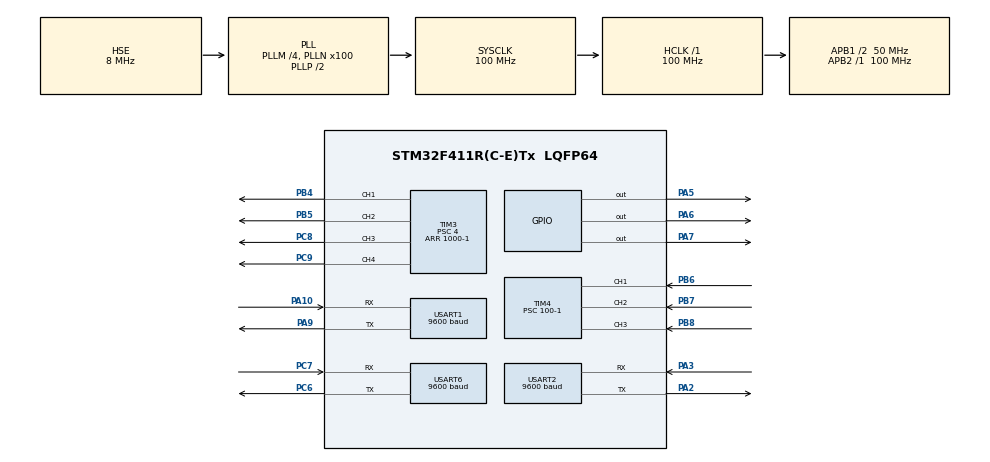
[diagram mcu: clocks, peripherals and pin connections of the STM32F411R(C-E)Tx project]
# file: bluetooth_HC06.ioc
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Mcu.Family=STM32F4
Mcu.Name=STM32F411R(C-E)Tx
Mcu.Package=LQFP64
NVIC.PriorityGroup=NVIC_PRIORITYGROUP_4
NVIC.TIM4_IRQn=true\:0\:0\:false\:false\:true\:true\:true\:true
NVIC.USART1_IRQn=true\:0\:0\:false\:false\:true\:true\:true\:true
NVIC.USART2_IRQn=true\:0\:0\:false\:false\:true\:true\:true\:true
NVIC.USART6_IRQn=true\:0\:0\:false\:false\:true\:true\:true\:true
PA10.Mode=Asynchronous
PA10.Signal=USART1_RX
PA13.Mode=Serial_Wire
PA13.Signal=SYS_JTMS-SWDIO
PA14.Mode=Serial_Wire
PA14.Signal=SYS_JTCK-SWCLK
PA2.Mode=Asynchronous
PA2.Signal=USART2_TX
PA3.Mode=Asynchronous
PA3.Signal=USART2_RX
PA5.GPIO_Speed=GPIO_SPEED_FREQ_VERY_HIGH
PA5.Signal=GPIO_Output
PA6.GPIO_Speed=GPIO_SPEED_FREQ_VERY_HIGH
PA6.Signal=GPIO_Output
PA7.GPIO_Speed=GPIO_SPEED_FREQ_VERY_HIGH
PA7.Signal=GPIO_Output
PA9.Mode=Asynchronous
PA9.Signal=USART1_TX
PB4.Signal=S_TIM3_CH1
PB5.Signal=S_TIM3_CH2
PB6.Signal=S_TIM4_CH1
PB7.Signal=S_TIM4_CH2
PB8.Signal=S_TIM4_CH3
PC6.Mode=Asynchronous
PC6.Signal=USART6_TX
PC7.Mode=Asynchronous
PC7.Signal=USART6_RX
PC8.Signal=S_TIM3_CH3
PC9.Signal=S_TIM3_CH4
PH0\ -\ OSC_IN.Mode=HSE-External-Oscillator
PH0\ -\ OSC_IN.Signal=RCC_OSC_IN
PH1\ -\ OSC_OUT.Mode=HSE-External-Oscillator
PH1\ -\ OSC_OUT.Signal=RCC_OSC_OUT
ProjectManager.HeapSize=0x200
ProjectManager.StackSize=0x400
ProjectManager.TargetToolchain=STM32CubeIDE
RCC.48MHZClocksFreq_Value=50000000
RCC.AHBFreq_Value=100000000
RCC.APB1CLKDivider=RCC_HCLK_DIV2
RCC.APB1Freq_Value=50000000
RCC.APB1TimFreq_Value=100000000
RCC.APB2Freq_Value=100000000
RCC.APB2TimFreq_Value=100000000
RCC.CortexFreq_Value=100000000
RCC.HCLKFreq_Value=100000000
RCC.HSE_VALUE=8000000
RCC.HSI_VALUE=16000000
RCC.LSE_VALUE=32768
RCC.PLLM=4
RCC.PLLN=100
RCC.PLLSourceVirtual=RCC_PLLSOURCE_HSE
RCC.SYSCLKFreq_VALUE=100000000
RCC.SYSCLKSource=RCC_SYSCLKSOURCE_PLLCLK
RCC.VCOOutputFreq_Value=200000000
SH.S_TIM3_CH1.0=TIM3_CH1,PWM Generation1 CH1
SH.S_TIM3_CH2.0=TIM3_CH2,PWM Generation2 CH2
SH.S_TIM3_CH3.0=TIM3_CH3,PWM Generation3 CH3
SH.S_TIM3_CH4.0=TIM3_CH4,PWM Generation4 CH4
SH.S_TIM4_CH1.0=TIM4_CH1,Input_Capture1_from_TI1
SH.S_TIM4_CH2.0=TIM4_CH2,Input_Capture2_from_TI2
SH.S_TIM4_CH3.0=TIM4_CH3,Input_Capture3_from_TI3
TIM11.Prescaler=100-1
TIM3.Channel-PWM\ Generation1\ CH1=TIM_CHANNEL_1
TIM3.Channel-PWM\ Generation2\ CH2=TIM_CHANNEL_2
TIM3.Channel-PWM\ Generation3\ CH3=TIM_CHANNEL_3
TIM3.Channel-PWM\ Generation4\ CH4=TIM_CHANNEL_4
TIM3.Period=1000-1
TIM3.Prescaler=4
TIM4.Channel-Input_Capture1_from_TI1=TIM_CHANNEL_1
TIM4.Channel-Input_Capture2_from_TI2=TIM_CHANNEL_2
TIM4.Channel-Input_Capture3_from_TI3=TIM_CHANNEL_3
TIM4.Prescaler=100-1
USART1.BaudRate=9600
USART1.VirtualMode=VM_ASYNC
USART2.BaudRate=9600
USART2.VirtualMode=VM_ASYNC
USART6.BaudRate=9600
USART6.VirtualMode=VM_ASYNC
VP_TIM11_VS_ClockSourceINT.Mode=Enable_Timer
VP_TIM3_VS_ClockSourceINT.Mode=Internal
VP_TIM4_VS_ClockSourceINT.Mode=Internal
board=custom

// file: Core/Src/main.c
/* USER CODE BEGIN Header */
/**
  ******************************************************************************
  * @file           : main.c
  * @brief          : Main program body
  ******************************************************************************
  * @attention
  *
  * Copyright (c) 2025 STMicroelectronics.
  * All rights reserved.
  *
  * This software is licensed under terms that can be found in the LICENSE file
  * in the root directory of this software component.
  * If no LICENSE file comes with this software, it is provided AS-IS.
  *
  ******************************************************************************
  */
/* USER CODE END Header */
#include "main.h"
#include "tim.h"
#include "usart.h"
#include "gpio.h"

/* USER CODE BEGIN Includes */

#include "rcCar.h"
#include "ultrasonic.h"
#include "rcCar_auto.h"

/* USER CODE END Includes */

/* USER CODE BEGIN PV */
uint8_t rxData6;
uint8_t rxData2;
//uint8_t rxData1;

//uint8_t bluetooth_RxData;
//uint8_t serial_RxData;
//const char *at_cmds[] =
//{
//		"AT\r\n",
//		"AT+IMQM\r\n"
//		"AT+ROLE=1\r\n",
//		"AT+CMODE=0\r\n",
//		"AT+PSWD=1234\r\n",          // HC-06 PIN에 맞춤 (필요시 0000)
//		"AT+BIND=98DA,60,07D946\r\n",  // 또는 98,DA,60,07,DD,18 형식
//		"AT+PAIR=98DA,60,07D946,10\r\n",   // ★ 최초 페어링(타임아웃 10s)
//		"AT+LINK=98DA,60,07D946\r\n",      // ★ 즉시 연결 시도 (보레이트와 무관하게 블루투스 무선 링크로 연결됨)
//		"AT+UART=9600,0,0\r\n",
//		"AT+RESET\r\n"
// // 보낼 AT 명령어
//};
//

/* USER CODE END PV */

void SystemClock_Config(void);
/* USER CODE BEGIN PFP */

void HAL_UART_RxCpltCallback(UART_HandleTypeDef *huart)
{
	if(huart->Instance == USART2)
	{
	   HAL_UART_Receive_IT(&huart2, &rxData2, 1);
	   HAL_UART_Transmit(&huart6, &rxData2, sizeof(rxData2), HAL_MAX_DELAY );

	}

	else if(huart->Instance == USART6)
    {
		HAL_UART_Receive_IT(&huart6, &rxData6, 1);
		HAL_UART_Transmit(&huart2, &rxData6, sizeof(rxData6), HAL_MAX_DELAY);
	}

//	else if(huart->Instance == USART1)
//    {
//		HAL_UART_Receive_IT(&huart1, &rxData1, 1);
//		HAL_UART_Transmit(&huart2, &rxData1, sizeof(rxData1), HAL_MAX_DELAY);
//
//	}

}

	int _write(int file, unsigned char* p, int len)
	{
	    HAL_StatusTypeDef status = HAL_UART_Transmit(&huart2, p, len, 100);
	    return (status == HAL_OK ? len : 0);
	}

//void HAL_UART_RxCpltCallback(UART_HandleTypeDef *huart)
//{
//    if(huart->Instance == USART6)
//    {
//        HAL_UART_Transmit (&huart2, &bluetooth_RxData, 1, 1000);
//        HAL_UART_Receive_IT(&huart6, &bluetooth_RxData, 1);
//    }
//    else if(huart->Instance == USART2)
//    {
//        HAL_UART_Transmit (&huart6, &serial_RxData, 1, 1000);
//        HAL_UART_Receive_IT(&huart2, &serial_RxData, 1);
//    }
//}
//

/* USER CODE END PFP */

int main(void)
{

  /* MCU Configuration--------------------------------------------------------*/

  /* Reset of all peripherals, Initializes the Flash interface and the Systick. */
  HAL_Init();

  /* Configure the system clock */
  SystemClock_Config();

  /* Initialize all configured peripherals */
  MX_GPIO_Init();
  MX_TIM3_Init();
  MX_USART2_UART_Init();
  MX_USART6_UART_Init();
  MX_TIM4_Init();
  MX_TIM11_Init();
  MX_USART1_UART_Init();
  /* USER CODE BEGIN 2 */

  HAL_TIM_Base_Start(&htim11);  //for delay_us() Function
  HAL_TIM_IC_Start_IT(&htim4, TIM_CHANNEL_1);  //인터럽트면 콜백 이름 모르니까
  HAL_TIM_IC_Start_IT(&htim4, TIM_CHANNEL_2);
  HAL_TIM_IC_Start_IT(&htim4, TIM_CHANNEL_3);

  rcCar_init();

  HAL_TIM_PWM_Start(&htim3, TIM_CHANNEL_1);
  HAL_TIM_PWM_Start(&htim3, TIM_CHANNEL_2);
  HAL_TIM_PWM_Start(&htim3, TIM_CHANNEL_3);
  HAL_TIM_PWM_Start(&htim3, TIM_CHANNEL_4);

  HAL_UART_Receive_IT(&huart6, &rxData6, 1);
  HAL_UART_Receive_IT(&huart2, &rxData2, 1);
//  HAL_UART_Receive_IT(&huart1, &rxData1, 1);

//  HAL_UART_Receive_IT(&huart6, &bluetooth_RxData, 1);
//  HAL_UART_Receive_IT(&huart2, &serial_RxData, 1);
//
//
//  for (size_t i = 0; i < 7; ++i)
//   {
//     HAL_UART_Transmit(&huart6, (uint8_t*)at_cmds[i], strlen(at_cmds[i]), 1000);
//     HAL_Delay(800); // 100~200ms 대기
//   }

//  char msg[] = "AT+NAMEljs1\r\n";
//  HAL_UART_Transmit(&huart6, (uint8_t *)msg, strlen(msg), HAL_MAX_DELAY);
//
//  char confirm[] = "Name change command sent!\r\n";
//  HAL_UART_Transmit(&huart2, (uint8_t *)confirm, sizeof(confirm)-1, HAL_MAX_DELAY);

  /* USER CODE END 2 */

  /* Infinite loop */
  /* USER CODE BEGIN WHILE */
  while (1)
  {
//	  rcCar(rxData6);
//	  HCSR04_TRIGGER();
//	  rcCarAuto(distance1, distance2, distance3);

//      printf("Distance1 : %d cm\n",distance1);
//      printf("Distance2 : %d cm\n",distance2);
//      printf("Distance3 : %d cm\n",distance3);

    /* USER CODE END WHILE */

  }
}

void SystemClock_Config(void)
{
  RCC_OscInitTypeDef RCC_OscInitStruct = {0};
  RCC_ClkInitTypeDef RCC_ClkInitStruct = {0};

  /** Configure the main internal regulator output voltage
  */
  __HAL_RCC_PWR_CLK_ENABLE();
  __HAL_PWR_VOLTAGESCALING_CONFIG(PWR_REGULATOR_VOLTAGE_SCALE1);

  /** Initializes the RCC Oscillators according to the specified parameters
  * in the RCC_OscInitTypeDef structure.
  */
  RCC_OscInitStruct.OscillatorType = RCC_OSCILLATORTYPE_HSE;
  RCC_OscInitStruct.HSEState = RCC_HSE_ON;
  RCC_OscInitStruct.PLL.PLLState = RCC_PLL_ON;
  RCC_OscInitStruct.PLL.PLLSource = RCC_PLLSOURCE_HSE;
  RCC_OscInitStruct.PLL.PLLM = 4;
  RCC_OscInitStruct.PLL.PLLN = 100;
  RCC_OscInitStruct.PLL.PLLP = RCC_PLLP_DIV2;
  RCC_OscInitStruct.PLL.PLLQ = 4;
  if (HAL_RCC_OscConfig(&RCC_OscInitStruct) != HAL_OK)
  {
    Error_Handler();
  }

  /** Initializes the CPU, AHB and APB buses clocks
  */
  RCC_ClkInitStruct.ClockType = RCC_CLOCKTYPE_HCLK|RCC_CLOCKTYPE_SYSCLK
                              |RCC_CLOCKTYPE_PCLK1|RCC_CLOCKTYPE_PCLK2;
  RCC_ClkInitStruct.SYSCLKSource = RCC_SYSCLKSOURCE_PLLCLK;
  RCC_ClkInitStruct.AHBCLKDivider = RCC_SYSCLK_DIV1;
  RCC_ClkInitStruct.APB1CLKDivider = RCC_HCLK_DIV2;
  RCC_ClkInitStruct.APB2CLKDivider = RCC_HCLK_DIV1;

  if (HAL_RCC_ClockConfig(&RCC_ClkInitStruct, FLASH_LATENCY_3) != HAL_OK)
  {
    Error_Handler();
  }
}

void Error_Handler(void)
{
  __disable_irq();
  while (1)
  {
  }
}
